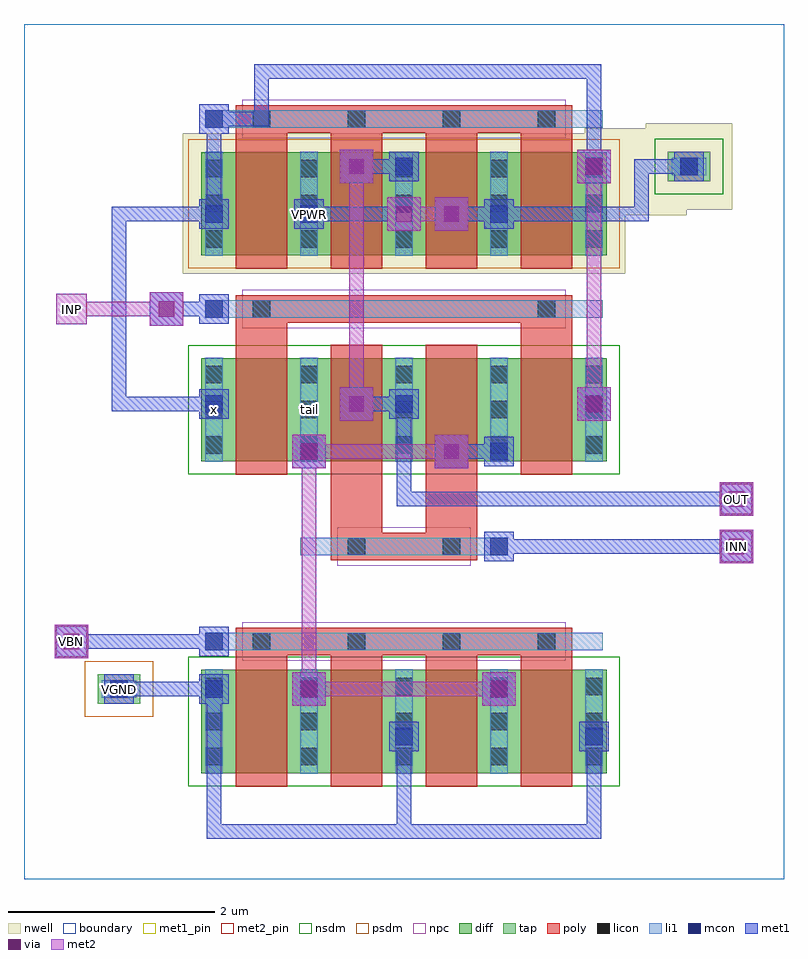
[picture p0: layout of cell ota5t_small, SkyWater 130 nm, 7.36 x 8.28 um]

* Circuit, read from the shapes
.subckt ota5t_small INN INP OUT VBN VGND VPWR tail x
XM1 tail VBN VGND VGND sky130_fd_pr__nfet_01v8 w=1 l=0.5 m=4
XM2 tail INP x VGND sky130_fd_pr__nfet_01v8 w=1 l=0.5 m=2
XM3 OUT INN tail VGND sky130_fd_pr__nfet_01v8 w=1 l=0.5 m=2
XM4 VPWR x x VPWR sky130_fd_pr__pfet_01v8 w=1 l=0.5 m=2
XM5 OUT x VPWR VPWR sky130_fd_pr__pfet_01v8 w=1 l=0.5 m=2
.ends

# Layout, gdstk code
import gdstk
lib = gdstk.Library(unit=1e-6, precision=1e-09)
def R(c, l, rs):  # rectangles x0, y0, x1, y1
    for r in rs: c.add(gdstk.rectangle(r[:2], r[2:], *l))
def A(c, l, x, y, w, h, nx, ny, dx, dy):  # array of equal rectangles
    R(c, l, [(x+i*dx, y+j*dy, x+i*dx+w, y+j*dy+h) for i in range(nx) for j in range(ny)])
nwell = (64, 20)
diff = (65, 20)
tap = (65, 44)
poly = (66, 20)
licon = (66, 44)
li1 = (67, 20)
mcon = (67, 44)
met1_pin = (68, 16)
met1 = (68, 20)
via = (68, 44)
met2_pin = (69, 16)
met2 = (69, 20)
nsdm = (93, 44)
psdm = (94, 20)
npc = (95, 20)
boundary = (235, 4)

ota5t_small = lib.new_cell('ota5t_small')
R(ota5t_small, nwell, [(1.535,5.86,5.825,6.43), (1.535,6.43,6.417,6.48), (1.535,6.48,6.86,7.22), (5.428,7.22,6.86,7.27), (6.02,7.27,6.86,7.32)])
R(ota5t_small, diff, [(1.715,1.025,5.645,2.025), (1.715,4.045,5.645,5.045), (1.715,6.04,5.645,7.04)])
R(ota5t_small, tap, [(0.715,1.695,1.125,1.985), (6.235,6.755,6.645,7.045)])
A(ota5t_small, poly, 2.05, 0.895, 0.5, 1.405, 4, 1, 0.92, 0)
A(ota5t_small, poly, 2.05, 5.91, 0.5, 1.45, 4, 1, 0.92, 0)
R(ota5t_small, poly, [(2.05,2.165,5.31,2.435), (2.97,3.085,4.39,3.355), (2.97,3.22,3.47,5.175), (3.89,3.22,4.39,5.175), (2.05,3.915,2.55,5.52), (4.81,3.915,5.31,5.52), (2.05,5.385,5.31,5.655), (2.05,7.225,5.31,7.495)])
A(ota5t_small, licon, 1.755, 1.1, 0.17, 0.17, 5, 3, 0.92, 0.34)
A(ota5t_small, licon, 2.215, 2.215, 0.17, 0.17, 4, 2, 0.92, 5.06)
A(ota5t_small, licon, 1.755, 4.12, 0.17, 0.17, 5, 3, 0.92, 0.34)
A(ota5t_small, licon, 1.755, 6.115, 0.17, 0.17, 5, 3, 0.92, 0.34)
R(ota5t_small, licon, [(0.835,1.755,1.005,1.925), (3.135,3.135,3.305,3.305), (4.055,3.135,4.225,3.305), (2.215,5.435,2.385,5.605), (4.975,5.435,5.145,5.605), (6.355,6.815,6.525,6.985)])
A(ota5t_small, li1, 1.755, 1.02, 0.17, 1.01, 5, 2, 0.92, 3.02)
A(ota5t_small, li1, 1.755, 6.035, 0.17, 1.01, 5, 1, 0.92, 0)
R(ota5t_small, li1, [(0.755,1.755,1.085,1.925), (1.755,2.215,5.605,2.385), (2.675,3.135,4.685,3.305), (1.755,5.435,5.605,5.605), (6.275,6.815,6.605,6.985), (1.755,7.275,5.605,7.445)])
A(ota5t_small, mcon, 0.835, 1.755, 0.17, 0.17, 3, 1, 0.92, 0)
A(ota5t_small, mcon, 1.755, 4.515, 0.17, 0.17, 3, 1, 1.84, 0)
A(ota5t_small, mcon, 1.755, 5.435, 0.17, 0.17, 1, 3, 0, 0.92)
R(ota5t_small, mcon, [(3.595,1.295,3.765,1.465), (5.435,1.295,5.605,1.465), (4.515,1.755,4.685,1.925), (1.755,2.215,1.925,2.385), (4.515,3.135,4.685,3.305), (2.675,4.055,2.845,4.225), (4.515,4.055,4.685,4.225), (2.675,6.355,2.845,6.525), (4.515,6.355,4.685,6.525), (3.595,6.815,3.765,6.985), (5.435,6.815,5.605,6.985), (6.355,6.815,6.525,6.985)])
R(ota5t_small, met1_pin, [(0.85,1.77,0.99,1.91), (2.615,6.295,2.905,6.585)])
A(ota5t_small, met1, 0.775, 1.695, 0.29, 0.29, 3, 1, 0.92, 0)
A(ota5t_small, met1, 1.695, 4.455, 0.29, 0.29, 3, 1, 1.84, 0)
A(ota5t_small, met1, 1.695, 5.375, 0.29, 0.29, 1, 3, 0, 0.92)
R(ota5t_small, met1, [(1.77,0.39,1.91,1.91), (1.77,0.39,3.75,0.53), (3.61,0.39,3.75,1.45), (3.61,0.39,5.59,0.53), (5.45,0.39,5.59,1.45), (3.535,1.235,3.825,1.525), (5.375,1.235,5.665,1.525), (2.6,1.68,2.92,2), (4.44,1.68,4.76,2), (4.455,1.695,4.745,1.985), (0.85,1.77,1.91,1.91), (0.85,1.77,0.99,1.91), (0.3,2.14,0.62,2.46), (1.695,2.155,1.985,2.445), (0.39,2.23,1.91,2.37), (6.74,3.06,7.06,3.38), (4.455,3.075,4.745,3.365), (4.53,3.15,6.97,3.29), (6.74,3.52,7.06,3.84), (3.61,3.61,3.75,4.67), (3.61,3.61,6.97,3.75), (2.6,3.98,2.92,4.3), (3.98,3.98,4.3,4.3), (2.615,3.995,2.905,4.285), (4.455,3.995,4.745,4.285), (4.07,4.07,4.67,4.21), (3.06,4.44,3.38,4.76), (5.36,4.44,5.68,4.76), (0.85,4.53,1.91,4.67), (0.85,4.53,0.99,6.51), (3.15,4.53,3.75,4.67), (1.22,5.36,1.54,5.68), (1.31,5.45,1.91,5.59), (3.52,6.28,3.84,6.6), (3.98,6.28,4.3,6.6), (2.615,6.295,2.905,6.585), (4.455,6.295,4.745,6.585), (0.85,6.37,1.91,6.51), (1.77,6.37,1.91,7.43), (2.69,6.37,3.75,6.51), (4.07,6.37,4.67,6.51), (4.53,6.37,6.05,6.51), (5.91,6.37,6.05,6.97), (3.06,6.74,3.38,7.06), (5.36,6.74,5.68,7.06), (3.535,6.755,3.825,7.045), (5.375,6.755,5.665,7.045), (6.295,6.755,6.585,7.045), (3.15,6.83,3.75,6.97), (5.45,6.83,5.59,7.89), (5.91,6.83,6.51,6.97), (6.37,6.83,6.51,6.97), (1.77,7.29,2.37,7.43), (2.23,7.29,2.37,7.89), (2.23,7.75,5.59,7.89)])
R(ota5t_small, via, [(2.685,1.765,2.835,1.915), (4.525,1.765,4.675,1.915), (0.385,2.225,0.535,2.375), (6.825,3.145,6.975,3.295), (6.825,3.605,6.975,3.755), (2.685,4.065,2.835,4.215), (4.065,4.065,4.215,4.215), (3.145,4.525,3.295,4.675), (5.445,4.525,5.595,4.675), (1.305,5.445,1.455,5.595), (3.605,6.365,3.755,6.515), (4.065,6.365,4.215,6.515), (3.145,6.825,3.295,6.975), (5.445,6.825,5.595,6.975)])
R(ota5t_small, met2_pin, [(0.31,2.15,0.61,2.45), (6.75,3.07,7.05,3.37), (6.75,3.53,7.05,3.83), (0.31,5.37,0.61,5.67)])
R(ota5t_small, met2, [(2.6,1.68,2.92,2), (4.44,1.68,4.76,2), (2.69,1.77,2.83,4.21), (2.69,1.77,4.67,1.91), (0.3,2.14,0.62,2.46), (0.31,2.15,0.61,2.45), (0.39,2.23,0.53,2.37), (6.74,3.06,7.06,3.38), (6.75,3.07,7.05,3.37), (6.83,3.15,6.97,3.29), (6.74,3.52,7.06,3.84), (6.75,3.53,7.05,3.83), (6.83,3.61,6.97,3.75), (2.6,3.98,2.92,4.3), (3.98,3.98,4.3,4.3), (2.69,4.07,4.21,4.21), (3.06,4.44,3.38,4.76), (5.36,4.44,5.68,4.76), (3.15,4.53,3.29,6.97), (5.45,4.53,5.59,6.97), (1.22,5.36,1.54,5.68), (0.31,5.37,0.61,5.67), (0.39,5.45,0.53,5.59), (0.39,5.45,1.45,5.59), (3.52,6.28,3.84,6.6), (3.98,6.28,4.3,6.6), (3.61,6.37,4.21,6.51), (3.06,6.74,3.38,7.06), (5.36,6.74,5.68,7.06)])
R(ota5t_small, nsdm, [(1.59,0.9,5.77,2.15), (1.59,3.92,5.77,5.17), (6.11,6.63,6.77,7.17)])
R(ota5t_small, psdm, [(0.59,1.57,1.25,2.11), (1.59,5.915,5.77,7.165)])
R(ota5t_small, npc, [(2.115,2.115,5.245,2.485), (3.035,3.035,4.325,3.405), (2.115,5.335,5.245,5.705), (2.115,7.175,5.245,7.545)])
R(ota5t_small, boundary, [(0,0,7.36,8.28)])
ota5t_small.add(gdstk.Label('x', (1.84,4.545), layer=67, texttype=5))
ota5t_small.add(gdstk.Label('tail', (2.76,4.545), layer=67, texttype=5))
ota5t_small.add(gdstk.Label('VPWR', (2.76,6.44), layer=68, texttype=5))
ota5t_small.add(gdstk.Label('VGND', (0.92,1.84), layer=68, texttype=5))
ota5t_small.add(gdstk.Label('INP', (0.46,5.52), layer=69, texttype=5))
ota5t_small.add(gdstk.Label('INN', (6.9,3.22), layer=69, texttype=5))
ota5t_small.add(gdstk.Label('VBN', (0.46,2.3), layer=69, texttype=5))
ota5t_small.add(gdstk.Label('OUT', (6.9,3.68), layer=69, texttype=5))
ota5t_small.add(gdstk.Label('VPWR', (2.76,6.44), layer=68, texttype=16))
ota5t_small.add(gdstk.Label('VGND', (0.92,1.84), layer=68, texttype=16))
ota5t_small.add(gdstk.Label('INP', (0.46,5.52), layer=69, texttype=16))
ota5t_small.add(gdstk.Label('INN', (6.9,3.22), layer=69, texttype=16))
ota5t_small.add(gdstk.Label('VBN', (0.46,2.3), layer=69, texttype=16))
ota5t_small.add(gdstk.Label('OUT', (6.9,3.68), layer=69, texttype=16))

lib.write_gds('ota5t_small.gds')
